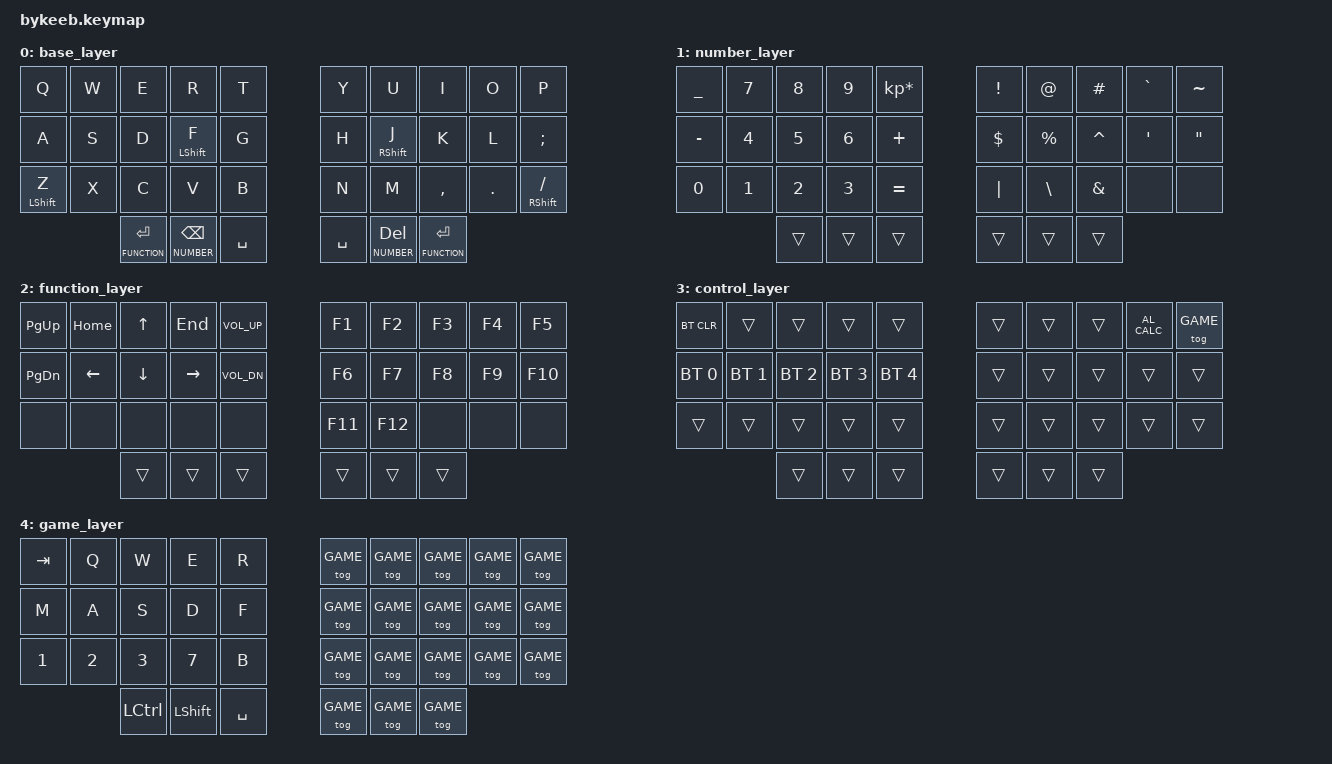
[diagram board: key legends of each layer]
/*
 * Copyright (c) 2020 The ZMK Contributors
 *
 * SPDX-License-Identifier: MIT
 */

#include <behaviors.dtsi>
#include <dt-bindings/zmk/keys.h>
#include <dt-bindings/zmk/bt.h>

#define BASE 0
#define NUMBER 1
#define FUNCTION 2
#define CONTROL 3
#define GAME 4


/ {
    behaviors {
        bhm: balanced_homerow_mods {
           compatible = "zmk,behavior-hold-tap";
           label = "HOMEROW_MODS";
           #binding-cells = <2>;
           tapping-term-ms = <200>;    // <---[[moderate duration]]
           quick-tap-ms = <125>;
           global-quick-tap;
           flavor = "balanced";
           bindings = <&kp>, <&kp>;
       };
    };

    combos {
        compatible = "zmk,combos";
        combo_esc {
            timeout-ms = <50>;
            key-positions = <0 10>;
            bindings = <&kp ESC>;
        };
        combo_lctrl1 {
            timeout-ms = <50>;
            key-positions = <1 11>;
            bindings = <&kp LCTRL>;
        };
        combo_lctrl2 {
            timeout-ms = <50>;
            key-positions = <11 21>;
            bindings = <&kp LCTRL>;
        };
        combo_lalt1 {
            timeout-ms = <50>;
            key-positions = <2 12>;
            bindings = <&kp LALT>;
        };
        combo_lalt2 {
            timeout-ms = <50>;
            key-positions = <12 22>;
            bindings = <&kp LALT>;
        };
        combo_lgui1 {
            timeout-ms = <50>;
            key-positions = <3 13>;
            bindings = <&kp LGUI>;
        };
        combo_lgui2 {
            timeout-ms = <50>;
            key-positions = <13 23>;
            bindings = <&kp LGUI>;
        };
        combo_tab {
            timeout-ms = <50>;
            key-positions = <14 24>;
            bindings = <&kp TAB>;
        };
        combo_lbrc {
            timeout-ms = <50>;
            key-positions = <5 6>;
            bindings = <&kp LBRC>;
        };
        combo_rbrc {
            timeout-ms = <50>;
            key-positions = <6 7>;
            bindings = <&kp RBRC>;
        };
        combo_lpar {
            timeout-ms = <50>;
            key-positions = <15 16>;
            bindings = <&kp LPAR>;
        };
        combo_rpar {
            timeout-ms = <50>;
            key-positions = <16 17>;
            bindings = <&kp RPAR>;
        };
        combo_lbkt {
            timeout-ms = <50>;
            key-positions = <25 26>;
            bindings = <&kp LBKT>;
        };
        combo_rbkt {
            timeout-ms = <50>;
            key-positions = <26 27>;
            bindings = <&kp RBKT>;
        };
        combo_rgui1 {
            timeout-ms = <50>;
            key-positions = <6 16>;
            bindings = <&kp RGUI>;
        };
        combo_rgui2 {
            timeout-ms = <50>;
            key-positions = <16 26>;
            bindings = <&kp RGUI>;
        };
        combo_ralt1 {
            timeout-ms = <50>;
            key-positions = <7 17>;
            bindings = <&kp RALT>;
        };
        combo_ralt2 {
            timeout-ms = <50>;
            key-positions = <17 27>;
            bindings = <&kp RALT>;
        };
        combo_rctrl1 {
            timeout-ms = <50>;
            key-positions = <8 18>;
            bindings = <&kp RCTRL>;
        };
        combo_rctrl2 {
            timeout-ms = <50>;
            key-positions = <18 28>;
            bindings = <&kp RCTRL>;
        };
        combo_bspc {
            timeout-ms = <50>;
            key-positions = <19 29>;
            bindings = <&kp BSPC>;
        };
    };

    conditional_layers {
        compatible = "zmk,conditional-layers";
        tri_layer {
            if-layers = <NUMBER FUNCTION>;
            then-layer = <CONTROL>;
        };
    };

    keymap {
        compatible = "zmk,keymap";
        base_layer {
            bindings = <
     &kp Q         &kp W  &kp E  &kp R          &kp T    &kp Y  &kp U          &kp I     &kp O   &kp P            
     &kp A         &kp S  &kp D  &bhm LSHIFT F  &kp G    &kp H  &bhm RSHIFT J  &kp K     &kp L   &kp SEMI         
     &bhm LSHIFT Z &kp X  &kp C  &kp V          &kp B    &kp N  &kp M          &kp COMMA &kp DOT &bhm RSHIFT FSLH 
               &lt FUNCTION ENTER &lt NUMBER BSPC &kp SPACE   &kp SPACE &lt NUMBER DELETE &lt FUNCTION ENTER
            >;
        };

        number_layer {
            bindings = <
     &kp UNDER  &kp N7  &kp N8  &kp N9  &kp KP_MULTIPLY    &kp EXCL  &kp AT     &kp HASH   &kp GRAVE  &kp TILDE 
     &kp MINUS  &kp N4  &kp N5  &kp N6  &kp PLUS           &kp DLLR  &kp PRCNT  &kp CARET  &kp SQT    &kp DQT   
     &kp N0     &kp N1  &kp N2  &kp N3  &kp EQUAL          &kp PIPE  &kp BSLH   &kp AMPS   &none      &none     
                              &trans  &trans  &trans    &trans  &trans  &trans
            >;
        };

        function_layer {
            bindings = <
     &kp PG_UP  &kp HOME  &kp UP    &kp END    &kp C_VOL_UP   &kp F1  &kp F2  &kp F3  &kp F4  &kp F5   
     &kp PG_DN  &kp LEFT  &kp DOWN  &kp RIGHT  &kp C_VOL_DN   &kp F6  &kp F7  &kp F8  &kp F9  &kp F10  
     &none      &none     &none     &none      &none          &kp F11 &kp F12 &none   &none   &none    
                                  &trans  &trans  &trans    &trans  &trans  &trans
            >;
        };

        control_layer {
            bindings = <
     &bt BT_CLR   &trans       &trans       &trans       &trans         &trans  &trans  &trans  &kp C_AL_CALC &tog GAME 
     &bt BT_SEL 0 &bt BT_SEL 1 &bt BT_SEL 2 &bt BT_SEL 3 &bt BT_SEL 4   &trans  &trans  &trans  &trans        &trans    
     &trans       &trans       &trans       &trans       &trans         &trans  &trans  &trans  &trans        &trans    
                                             &trans  &trans  &trans    &trans  &trans  &trans
            >;
        };

        game_layer {
            bindings = <
     &kp TAB  &kp Q   &kp W   &kp E   &kp R     &tog GAME  &tog GAME  &tog GAME  &tog GAME  &tog GAME  
     &kp M    &kp A   &kp S   &kp D   &kp F     &tog GAME  &tog GAME  &tog GAME  &tog GAME  &tog GAME  
     &kp N1   &kp N2  &kp N3  &kp N7  &kp B     &tog GAME  &tog GAME  &tog GAME  &tog GAME  &tog GAME  
                   &kp LCTRL &kp LSHIFT &kp SPACE    &tog GAME  &tog GAME  &tog GAME
            >;
        };
    };
};



